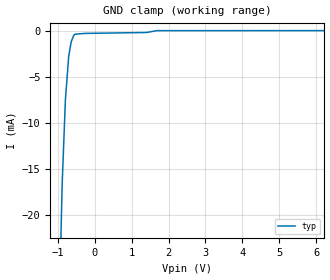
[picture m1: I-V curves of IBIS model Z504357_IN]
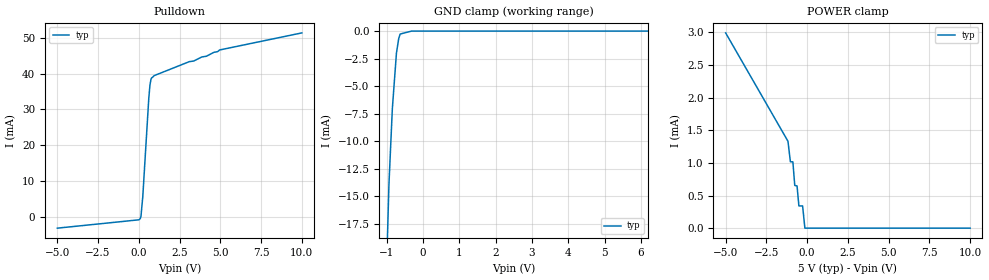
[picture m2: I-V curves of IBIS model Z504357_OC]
| YOU ARE ONLY AUTHORIZED TO USE THIS SOFTWARE
| ACCORDING TO LICENSOR'S LICENSE RESTRICTIONS.
[IBIS Ver] 3.1
[File Name] sn54ls01j.ibs
[File Rev] 2.0
[Source] Measured and created by ICX Technology
[Date] Friday 7/14/00 9:08:13 AM
[Copyright]
| (C) COPYRIGHT 1993-2000
| MENTOR GRAPHICS CORPORATION
| ICX STANDARD LIBRARY, ICX PROJECT MODELING,
| ICX CUSTOM MODELING, ICX VENDOR MODEL
| ALL RIGHTS RESERVED.
| THE FOLLOWING ARE TRADEMARKS OR SERVICE MARKS OF
| MENTOR GRAPHICS CORPORATION:ICX (R), ICX STANDARD
| LIBRARY(R), ICX PROJECT MODELING(R), ICX CUSTOM
| MODELING(R), qualityIBIS(TM), MODELVIEWER(TM),
| AND MODELEDITOR(TM)
| ALL COPIES OF SOFTWARE, INCLUDING BUT NOT LIMITED TO
| ANY MODIFICATIONS, ENHANCEMENTS OR DERIVATIVE WORKS,
| MUST CONTAIN ALL MENTOR GRAPHICS CORPORATION'S
| NOTICES AND LEGENDS, INCLUDING THOSE EMBEDDED IN
| SOFTWARE AND THOSE AFFIXED TO SOFTWARE MEDIUM
| AND CONTAINER, AS RECEIVED FROM MENTOR GRAPHICS
| CORPORATION.
|  ZAP Model Builder 2.7
[Component] SN54LS01J
[Manufacturer] OnSemiconductor
[Package]
| variable   typ   min   max
R_pkg  .21ohms NA NA
L_pkg  4.543nH NA NA
C_pkg  1.8pF NA NA
[Pin] signal_name  model_name  R_pin  L_pin C_pin
1 Y Z504357_OC .22 6.757n 2.434p
2 A Z504357_IN .212 4.757n 1.941p
3 B Z504357_IN .204 3.257n 1.448p
4 Y Z504357_OC .196 2.257n .955p
5 A Z504357_IN .204 3.257n 1.448p
6 B Z504357_IN .212 4.757n 1.941p
7 GND GND .22 6.757n 2.434p
8 A Z504357_IN .22 6.757n 2.434p
9 B Z504357_IN .212 4.757n 1.941p
10 Y Z504357_OC .204 3.257n 1.448p
11 A Z504357_IN .196 2.257n .955p
12 B Z504357_IN .204 3.257n 1.448p
13 Y Z504357_OC .212 4.757n 1.941p
14 VCC POWER .22 6.757n 2.434p
| Models and submodels in the file (2): Z504357_IN (Input), Z504357_OC (Open_sink)
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| (C) COPYRIGHT 1993-2000
| MENTOR GRAPHICS CORPORATION
| ICX STANDARD LIBRARY, ICX PROJECT MODELING,
| ICX CUSTOM MODELING, ICX VENDOR MODEL
| ALL RIGHTS RESERVED.
| THE FOLLOWING ARE TRADEMARKS OR SERVICE MARKS OF
| MENTOR GRAPHICS CORPORATION:ICX (R), ICX STANDARD
| LIBRARY(R), ICX PROJECT MODELING(R), ICX CUSTOM
| MODELING(R), qualityIBIS(TM), MODELVIEWER(TM),
| AND MODELEDITOR(TM)
| ALL COPIES OF SOFTWARE, INCLUDING BUT NOT LIMITED TO
| ANY MODIFICATIONS, ENHANCEMENTS OR DERIVATIVE WORKS,
| MUST CONTAIN ALL MENTOR GRAPHICS CORPORATION'S
| NOTICES AND LEGENDS, INCLUDING THOSE EMBEDDED IN
| SOFTWARE AND THOSE AFFIXED TO SOFTWARE MEDIUM
| AND CONTAINER, AS RECEIVED FROM MENTOR GRAPHICS
| CORPORATION.
| Model Application Version 1.89 2/18/99.
[Model] Z504357_IN
Model_type Input
Vinl = 800.0mV
Vinh = 2.000V
C_comp 4.000pF NA NA
| variable typ   min   max
[Voltage Range] 5.000V NA NA
[GND Clamp Reference] 0.000V NA NA
[POWER Clamp Reference] 5.000V NA NA
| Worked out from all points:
|   GND clamp passes 1 mA (typ) near -0.61 V on its own axis
[GND Clamp]
-5V       -719.8mA   NA         NA
-878.4mV  -16.7mA    NA         NA
-790.9mV  -7.519mA   NA         NA
-702mV    -2.818mA   NA         NA
-634.8mV  -1.23mA    NA         NA
-565.3mV  -521.1uA   NA         NA
-527.3mV  -392.6uA   NA         NA
-263.7mV  -305.1uA   NA         NA
1.408V    -206.2uA   NA         NA
1.685V    -6.979uA   NA         NA
10V       1.708uA    NA         NA
[POWER Clamp]
-5V       0A         NA         NA
10V       0A         NA         NA
| (C) COPYRIGHT 1993-2000
| MENTOR GRAPHICS CORPORATION
| ICX STANDARD LIBRARY, ICX PROJECT MODELING,
| ICX CUSTOM MODELING, ICX VENDOR MODEL
| ALL RIGHTS RESERVED.
| THE FOLLOWING ARE TRADEMARKS OR SERVICE MARKS OF
| MENTOR GRAPHICS CORPORATION:ICX (R), ICX STANDARD
| LIBRARY(R), ICX PROJECT MODELING(R), ICX CUSTOM
| MODELING(R), qualityIBIS(TM), MODELVIEWER(TM),
| AND MODELEDITOR(TM)
| ALL COPIES OF SOFTWARE, INCLUDING BUT NOT LIMITED TO
| ANY MODIFICATIONS, ENHANCEMENTS OR DERIVATIVE WORKS,
| MUST CONTAIN ALL MENTOR GRAPHICS CORPORATION'S
| NOTICES AND LEGENDS, INCLUDING THOSE EMBEDDED IN
| SOFTWARE AND THOSE AFFIXED TO SOFTWARE MEDIUM
| AND CONTAINER, AS RECEIVED FROM MENTOR GRAPHICS
| CORPORATION.
| Model Application Version 1.89 2/18/99.
[Model] Z504357_OC
Model_type Open_sink
Vref=5.000V
Rref=2.000kohms
Cref=15.00pF
Vmeas=1.300V
C_comp 8.000pF NA NA
| variable typ   min   max
[Voltage Range] 5.000V NA NA
[POWER Clamp Reference] 5.000V NA NA
[Pullup Reference] 5.000V NA NA
[Pulldown Reference] 0.000V NA NA
[GND Clamp Reference] 0.000V NA NA
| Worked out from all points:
|   slope of the pulldown table from 0 to 0.75 V, typ, clamps not added: 19.1 ohm
|   GND clamp passes 1 mA (typ) near -0.68 V on its own axis
|   POWER clamp passes 1 mA (typ) near -0.87 V on its own axis
[GND Clamp]
-5V       -733mA     NA         NA
-1.209V   -50.28mA   NA         NA
-1.054V   -27.98mA   NA         NA
-932.6mV  -13.88mA   NA         NA
-839.5mV  -7.046mA   NA         NA
-727.3mV  -2.016mA   NA         NA
-664.1mV  -677.5uA   NA         NA
-625mV    -268.7uA   NA         NA
-312.5mV  0A         NA         NA
10V       0A         NA         NA
[Pulldown]
-5V       -3.133mA   NA         NA
9.766mV   -801.9uA   NA         NA
87.89mV   -466.1uA   NA         NA
131.8mV   142.8uA    NA         NA
243.2mV   5.615mA    NA         NA
610.8mV   33mA       NA         NA
684.4mV   36.82mA    NA         NA
746.9mV   38.4mA     NA         NA
946.9mV   39.43mA    NA         NA
4.147V    44.83mA    NA         NA
4.961V    46.58mA    NA         NA
10V       51.34mA    NA         NA
[POWER Clamp]
-5V       2.99mA     NA         NA
-1.177V   1.331mA    NA         NA
-1.026V   1.016mA    NA         NA
-875mV    1.016mA    NA         NA
-760mV    654.7uA    NA         NA
-620mV    647.1uA    NA         NA
-506mV    340.4uA    NA         NA
-278mV    340.4uA    NA         NA
-139mV    0A         NA         NA
10V       0A         NA         NA
[Ramp]
| variable typ min max
dV/dt_r 2.752/13.91n NA NA
dV/dt_f 2.752/5.543n NA NA
R_load = 250.0Ohms
